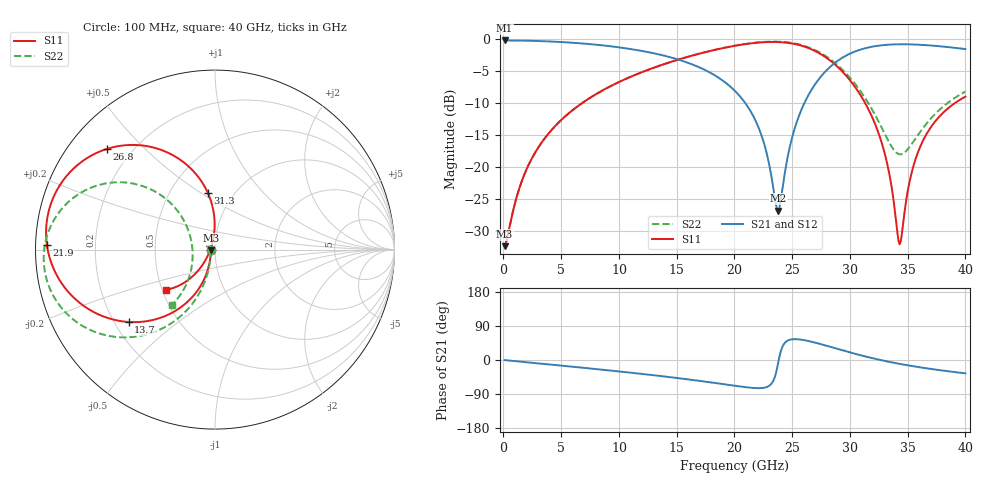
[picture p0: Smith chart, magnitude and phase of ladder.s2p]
! E_s8_L1L3_p1000_round_g2: via ladder as kisi uses it (kisi_si::via_pbm, graded grid, junction model), differential mode (per line 50 ohm)
# Hz S RI R 50
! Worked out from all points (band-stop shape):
!   400 points, 100 MHz to 40 GHz, reference 50 ohm
!   highest |S21| = -0.21 dB at 100 MHz (marker M1); lowest = -26.9 dB at 23.8 GHz (marker M2)
!   |S21| within 3 dB of the highest: start of sweep to 15.14 GHz; 29.09 GHz to end of sweep
!   lowest |S11| = -32.4 dB at 100 MHz (marker M3), VSWR 1.05, Z = 47.7 - j0.43 ohm
!   |S11| at or under -10 dB: start of sweep to 6.822 GHz; 31.32 GHz to 39.1 GHz (7.789 GHz wide, 22.1 % of centre)
!   |S22| runs from -32.4 to -0.4 dB; largest |S21 - S12| = 0
!   S11 on the Smith chart (normalised r, x): 100 MHz: 0.95, -0.01; 13.7 GHz: 0.26, -0.34; 21.9 GHz: 0.03, +0.01; 26.8 GHz: 0.11, +0.39; 31.3 GHz: 0.76, +0.53; 40 GHz: 0.52, -0.27
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1e8  -0.0235 -0.0045  0.9765 -0.00499  0.9765 -0.00499  -0.0235 -0.00452
1.3e9  -0.0279 -0.0583  0.9726 -0.0647  0.9726 -0.0647  -0.0269 -0.0587
2.5e9  -0.0398 -0.1113  0.9618 -0.1238  0.9618 -0.1238  -0.0363 -0.1122
6.8e9  -0.1427 -0.281  0.8687 -0.3191  0.8687 -0.3191  -0.1185 -0.2915
1.34e10  -0.4632 -0.4041  0.5697 -0.505  0.5697 -0.505  -0.3895 -0.4748
1.37e10  -0.4814 -0.4032  0.5521 -0.5079  0.5521 -0.5079  -0.4059 -0.4786
2.01e10  -0.8759 -0.1532  0.1441 -0.3608  0.1441 -0.3608  -0.8097 -0.3723
2.19e10  -0.9364 0.0247  0.0605 -0.2142  0.0605 -0.2142  -0.9088 -0.2417
2.28e10  -0.9398 0.1317  0.0406 -0.1204  0.0406 -0.1204  -0.9412 -0.1544
2.38e10  -0.9131 0.2586  0.0452 -0.00443  0.0452 -0.00443  -0.9543 -0.0425
2.51e10  -0.82 0.4183  0.1055 0.1502  0.1055 0.1502  -0.922 0.1149
2.67e10  -0.6161 0.5566  0.2707 0.3006  0.2707 0.3006  -0.7921 0.2863
2.68e10  -0.6009 0.5616  0.2838 0.3071  0.2838 0.3071  -0.781 0.2947
2.88e10  -0.2889 0.5513  0.5712 0.3352  0.5712 0.3352  -0.5187 0.3751
3.13e10  -0.0398 0.3156  0.8358 0.1419  0.8358 0.1419  -0.2397 0.2517
3.25e10  -0.00396 0.1811  0.8893 0.0153  0.8893 0.0153  -0.1671 0.1498
3.34e10  -0.00496 0.089  0.9021 -0.0767  0.9021 -0.0767  -0.1377 0.0719
3.43e10  -0.0231 0.00873  0.8971 -0.1611  0.8971 -0.1611  -0.1254 -0.00209
3.52e10  -0.053 -0.0585  0.8789 -0.2361  0.8789 -0.2361  -0.1263 -0.0695
3.61e10  -0.0904 -0.1129  0.8514 -0.3011  0.8514 -0.3011  -0.137 -0.1294
3.77e10  -0.1655 -0.1806  0.7882 -0.3935  0.7882 -0.3935  -0.1715 -0.2171
4e10  -0.2745 -0.2243  0.6826 -0.4821  0.6826 -0.4821  -0.2386 -0.3063
